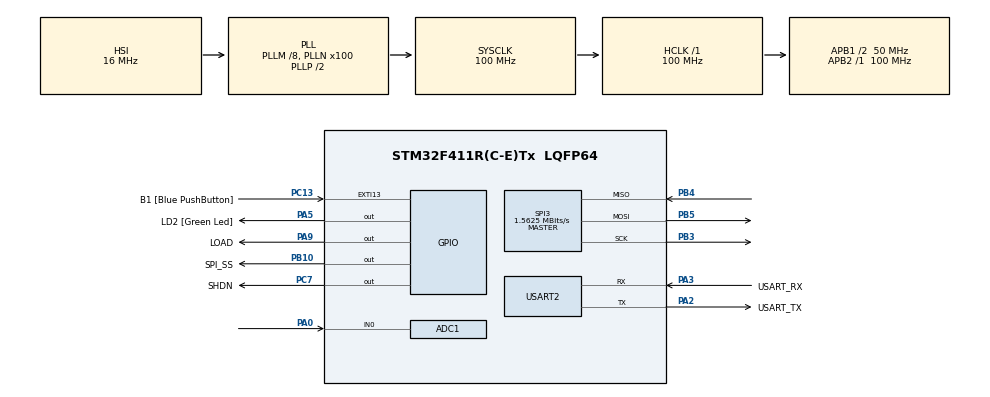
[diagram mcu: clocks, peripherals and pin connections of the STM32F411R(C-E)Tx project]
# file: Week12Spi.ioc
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Mcu.Family=STM32F4
PB10.PinState=GPIO_PIN_SET
RCC.CortexFreq_Value=100000000
SPI3.Direction=SPI_DIRECTION_2LINES
SPI3.VirtualType=VM_MASTER
ADC1.ContinuousConvMode=DISABLE
PA14.GPIO_Label=TCK
RCC.SYSCLKSource=RCC_SYSCLKSOURCE_PLLCLK
ProjectManager.StackSize=0x400
NVIC.ADC_IRQn=true\:0\:0\:false\:false\:true\:true\:true
PH0\ -\ OSC_IN.Signal=RCC_OSC_IN
RCC.HCLKFreq_Value=100000000
RCC.APB2TimFreq_Value=100000000
TIM3.Period=100
Dma.ADC1.0.Direction=DMA_PERIPH_TO_MEMORY
PC7.Signal=GPIO_Output
NVIC.DMA2_Stream0_IRQn=true\:0\:0\:false\:false\:true\:false\:true
Dma.ADC1.0.MemDataAlignment=DMA_MDATAALIGN_HALFWORD
RCC.AHBFreq_Value=100000000
SPI3.DataSize=SPI_DATASIZE_16BIT
ADC1.Channel-0\#ChannelRegularConversion=ADC_CHANNEL_0
RCC.HSE_VALUE=8000000
PB3.Mode=Full_Duplex_Master
ADC1.ScanConvMode=ENABLE
PC13-ANTI_TAMP.Signal=GPXTI13
PB4.Mode=Full_Duplex_Master
PC14-OSC32_IN.Mode=LSE-External-Oscillator
PA14.Mode=Serial_Wire
TIM3.Prescaler=99
Dma.ADC1.0.PeriphInc=DMA_PINC_DISABLE
NVIC.TIM2_IRQn=true\:0\:0\:false\:false\:true\:true\:true
PB5.Mode=Full_Duplex_Master
PC7.PinState=GPIO_PIN_SET
SH.ADCx_IN0.0=ADC1_IN0,IN0
ADC1.SamplingTime-0\#ChannelRegularConversion=ADC_SAMPLETIME_3CYCLES
RCC.FLatency-AdvancedSettings=FLASH_LATENCY_3
Mcu.Package=LQFP64
TIM2.Prescaler=99
SPI3.Mode=SPI_MODE_MASTER
USART2.VirtualMode=VM_ASYNC
PA2.GPIO_Label=USART_TX
NVIC.SPI3_IRQn=true\:0\:0\:false\:false\:true\:true\:true
RCC.APB1TimFreq_Value=100000000
Dma.ADC1.0.FIFOMode=DMA_FIFOMODE_DISABLE
Dma.Request0=ADC1
ADC1.EOCSelection=ADC_EOC_SEQ_CONV
VP_TIM3_VS_ClockSourceINT.Mode=Internal
PB4.Signal=SPI3_MISO
PA3.Signal=USART2_RX
PC15-OSC32_OUT.Mode=LSE-External-Oscillator
Dma.ADC1.0.Instance=DMA2_Stream0
ADC1.Rank-0\#ChannelRegularConversion=1
PC13-ANTI_TAMP.GPIO_Label=B1 [Blue PushButton]
PA9.GPIO_Label=LOAD
PH1\ -\ OSC_OUT.Mode=HSE-External-Clock-Source
ADC1.DiscontinuousConvMode=DISABLE
RCC.APB1CLKDivider=RCC_HCLK_DIV2
PC14-OSC32_IN.Signal=RCC_OSC32_IN
NVIC.USART2_IRQn=true\:0\:0\:false\:false\:true\:true\:true
PA0-WKUP.Signal=ADCx_IN0
PA13.Signal=SYS_JTMS-SWDIO
PA3.Mode=Asynchronous
Dma.ADC1.0.PeriphDataAlignment=DMA_PDATAALIGN_HALFWORD
PH0\ -\ OSC_IN.Mode=HSE-External-Clock-Source
ProjectManager.TargetToolchain=STM32CubeIDE
PB10.GPIO_Label=SPI_SS
Dma.ADC1.0.Mode=DMA_CIRCULAR
Dma.ADC1.0.Priority=DMA_PRIORITY_LOW
PA9.Signal=GPIO_Output
PA9.PinState=GPIO_PIN_SET
PC15-OSC32_OUT.Signal=RCC_OSC32_OUT
PB10.Signal=GPIO_Output
PA5.Signal=GPIO_Output
PH1\ -\ OSC_OUT.Signal=RCC_OSC_OUT
board=NUCLEO-F411RE
RCC.VCOOutputFreq_Value=200000000
RCC.APB2Freq_Value=100000000
SPI3.CalculateBaudRate=1.5625 MBits/s
VP_TIM2_VS_ClockSourceINT.Mode=Internal
SPI3.BaudRatePrescaler=SPI_BAUDRATEPRESCALER_32
ADC1.DMAContinuousRequests=ENABLE
PA13.Mode=Serial_Wire
Mcu.Name=STM32F411R(C-E)Tx
PA2.Signal=USART2_TX
PA13.GPIO_Label=TMS
ADC1.ExternalTrigConv=ADC_EXTERNALTRIGCONV_T3_TRGO
PC7.GPIO_Label=SHDN
RCC.48MHZClocksFreq_Value=50000000
PB3.Signal=SPI3_SCK
RCC.SYSCLKFreq_VALUE=100000000
PB5.Signal=SPI3_MOSI
ADC1.master=1
PA5.GPIO_Label=LD2 [Green Led]
PC13-ANTI_TAMP.GPIO_ModeDefaultEXTI=GPIO_MODE_IT_FALLING
PA14.Signal=SYS_JTCK-SWCLK
Dma.ADC1.0.MemInc=DMA_MINC_ENABLE
ProjectManager.HeapSize=0x200
RCC.HSI_VALUE=16000000
NVIC.PriorityGroup=NVIC_PRIORITYGROUP_0
ADC1.NbrOfConversionFlag=1
RCC.PLLM=8
RCC.PLLN=100
PA2.Mode=Asynchronous
TIM3.TIM_MasterOutputTrigger=TIM_TRGO_UPDATE
RCC.APB1Freq_Value=50000000
PA3.GPIO_Label=USART_RX

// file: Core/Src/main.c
/* USER CODE BEGIN Header */
/**
 ******************************************************************************
 * @file           : main.c
 * @brief          : Main program body
 ******************************************************************************
 * @attention
 *
 * <h2><center>&copy; Copyright (c) 2021 STMicroelectronics.
 * All rights reserved.</center></h2>
 *
 * This software component is licensed by ST under BSD 3-Clause license,
 * the "License"; You may not use this file except in compliance with the
 * License. You may obtain a copy of the License at:
 *                        opensource.org/licenses/BSD-3-Clause
 *
 ******************************************************************************
 */
/* USER CODE END Header */
#include "main.h"

/* USER CODE BEGIN Includes */
#include <math.h>
#include <stdio.h>
#include <string.h>

/* USER CODE END Includes */

ADC_HandleTypeDef hadc1;
DMA_HandleTypeDef hdma_adc1;

SPI_HandleTypeDef hspi3;

TIM_HandleTypeDef htim2;
TIM_HandleTypeDef htim3;

UART_HandleTypeDef huart2;

/* USER CODE BEGIN PV */
char TxDataBuffer[32] =
{ 0 };
char RxDataBuffer[32] =
{ 0 };
int16_t inputchar = 0;
uint16_t state = 0;
float f = 1;
float T = 0;
float Vhigh = 3.3;
float Vlow = 0.0;
int slope = 0;
float Duty_cycle = 0;
int wave = 0;
float VIn = 0;
float VOut = 0;
float deltaV = 0;
float delta_t = 0;
float deltaVfinal = 0;
double angle = 0;
float t = 0;
float pi = 3.14;
uint16_t VhighADC = 0;
uint16_t VlowADC = 0;
static uint64_t timestamp = 0;
static uint64_t wavetime = 0;

uint16_t ADCin = 0;
uint64_t _micro = 0;
uint16_t dataOut = 0;
	uint8_t DACConfig = 0b0011;  //SPIจะมี16bit โหมดในSPIใช้4bit ข้อมูลอีก12bit
enum state
{
	state_start = 0,
	state_Menu = 10,
	state_Sawtooth = 20,
	state_Sine = 30,
	state_Square = 40,
	state_functionSawtooth = 50,
	state_functionSine = 60,
	state_functionSquare = 70
};

char Menu[]="press 1 : Sawtooth wave\r\n"
			    "press 2 : Sine wave\r\n"
			    "press 3 : Square wave\r\n\r\n";
	char SawtoothMenu[]="SawtoothMenu\r\n "
			            "press a: +frequency\r\n "
			            "press s: -frequency\r\n "
		                "press q: +V high\r\n "
		                "press w: -V high\r\n "
		                "press e: +V low \r\n "
		                "press r: -V low\r\n "
		                "press d: slop Up\r\n "
		                "press f: slope down\r\n "
		                "press x: back\r\n\r\n";
	char SineMenu[]="SineMenu\r\n "
			        "press a: +frequency\r\n "
			        "press s: -frequency\r\n "
			        "press q: +V high\r\n "
			        "press w: -V high\r\n "
			        "press e: +V low \r\n "
			        "press r: -V low\r\n"
			        "press x: back\r\n\r\n ";
	char SquareMenu[]="SquareMenu\r\n "
			          "press a: +frequency\r\n "
			          "press s: -frequency\r\n "
				      "press q: +V high\r\n "
				      "press w: -V high\r\n "
				      "press e: +V low \r\n "
				      "press r: -V low\r\n "
				      "press d: +Duty cycle\r\n "
				      "press f: -Duty cycle\r\n "
				      "press x: back\r\n\r\n ";
	char showf[10] = "";
	char showVH[20] = "";
	char showVL[20] = "";
	char showDutyCycle[40] = "";
	char SlopeUp[] = "SlopeUp\r\n";
	char SlopeDown[] = "SlopeDown\r\n";
/* USER CODE END PV */

void SystemClock_Config(void);
static void MX_GPIO_Init(void);
static void MX_DMA_Init(void);
static void MX_USART2_UART_Init(void);
static void MX_SPI3_Init(void);
static void MX_ADC1_Init(void);
static void MX_TIM3_Init(void);
static void MX_TIM2_Init(void);
/* USER CODE BEGIN PFP */
void MCP4922SetOutput(uint8_t Config, uint16_t DACOutput);
uint64_t micros();
int16_t UARTRecieveIT();
/* USER CODE END PFP */

int main(void)
{

  /* MCU Configuration--------------------------------------------------------*/

  /* Reset of all peripherals, Initializes the Flash interface and the Systick. */
  HAL_Init();

  /* Configure the system clock */
  SystemClock_Config();

  /* Initialize all configured peripherals */
  MX_GPIO_Init();
  MX_DMA_Init();
  MX_USART2_UART_Init();
  MX_SPI3_Init();
  MX_ADC1_Init();
  MX_TIM3_Init();
  MX_TIM2_Init();
  /* USER CODE BEGIN 2 */
	HAL_TIM_Base_Start(&htim3);
	HAL_TIM_Base_Start_IT(&htim2);
	HAL_ADC_Start_DMA(&hadc1, (uint32_t*) &ADCin, 1);

	HAL_GPIO_WritePin(LOAD_GPIO_Port, LOAD_Pin, GPIO_PIN_RESET);

  /* USER CODE END 2 */

  /* Infinite loop */
  /* USER CODE BEGIN WHILE */
	while (1)
	{
		HAL_UART_Receive_IT(&huart2,  (uint8_t*)RxDataBuffer, 10);
		inputchar = UARTRecieveIT();
		switch (state)
		{
			case state_start:
				wave = 0;
//				char Menu[]="press 1 : Sawtooth wave\r\n"
//						    "press 2 : Sine wave\r\n"
//						    "press 3 : Square wave\r\n\r\n ";
				HAL_UART_Transmit(&huart2, (uint8_t*)Menu, strlen(Menu),10);
				state = state_Menu;
				break;
			case state_Menu:
				if (inputchar == '1')
				{
					state = state_Sawtooth;
				}
				else if (inputchar == '2')
				{
					state = state_Sine;
				}
				else if (inputchar == '3')
				{
					state = state_Square;
				}
				else
				{
					state = state_Menu;
				}
				break;
			case state_Sawtooth:
//				char SawtoothMenu[]="SawtoothMenu\r\n "
//									"press a:+frequency\r\n "
//									"press s:-frequency\r\n "
//									"press q: +V high\r\n "
//									"press w: -V high\r\n "
//									"press e: +V low \r\n "
//									"press r: -V low\r\n "
//									"press d: slop Up\r\n "
//									"press f: slope down\r\n "
//									"press x: back\r\n\r\n ";
				HAL_UART_Transmit(&huart2, (uint8_t*)SawtoothMenu, strlen(SawtoothMenu),100);
				state = state_functionSawtooth;
				break;
			case state_functionSawtooth:
				wave = 1;
				if (inputchar == 'a') //เพิ่มความถี่
				{
					f += 0.1;
					if(f>10)
					{
						f = 10;
					}
					sprintf(showf,"f = %f Hz\r\n",f);
					HAL_UART_Transmit(&huart2, (uint8_t*)showf, strlen(showf), 10);
					state = state_functionSawtooth;
				}
				else if(inputchar == 's')  //ลดความถี่
				{
					f -= 0.1;
					if(f<=0)
					{
						f = 0;
					}
					sprintf(showf,"f = %f Hz\r\n",f);
					HAL_UART_Transmit(&huart2, (uint8_t*)showf, strlen(showf), 10);
					state = state_functionSawtooth;
				}
				else if(inputchar == 'q')  //เพิ่ม V high
				{
					Vhigh = Vhigh + 0.1 ;
					if(Vhigh>3.3)
					{
						Vhigh = 3.3;
					}
					sprintf(showVH,"Vhigh = %f Volt\r\n",Vhigh);
					HAL_UART_Transmit(&huart2, (uint8_t*)showVH, strlen(showVH), 10);
					state = state_functionSawtooth;
				}
				else if(inputchar == 'w')  //ลด V high
				{
					Vhigh = Vhigh - 0.1 ;
					if(Vhigh<0)
					{
						Vhigh = 0;
					}
					sprintf(showVH,"Vhigh = %f Volt\r\n",Vhigh);
					HAL_UART_Transmit(&huart2, (uint8_t*)showVH, strlen(showVH), 10);
					state = state_functionSawtooth;
				}
				else if(inputchar == 'e')  //เพิ่ม V low
				{
					Vlow = Vlow + 0.1 ;
					if(Vlow>3.3)
					{
						Vlow = 3.3;
					}
					sprintf(showVL,"VLow = %f Volt\r\n",Vlow);
					HAL_UART_Transmit(&huart2, (uint8_t*)showVL, strlen(showVL), 10);
					state = state_functionSawtooth;
				}
				else if(inputchar == 'r')  //ลด V low
				{
					Vlow = Vlow - 0.1 ;
					if(Vlow<0)
					{
						Vlow = 0;
					}
					sprintf(showVL,"VLow = %f Volt\r\n",Vlow);
					HAL_UART_Transmit(&huart2, (uint8_t*)showVL, strlen(showVL), 10);
					state = state_functionSawtooth;
				}
				else if(inputchar == 'd')  //slope up
				{
					slope = 1;
					HAL_UART_Transmit(&huart2, (uint8_t*)SlopeUp, strlen(SlopeUp), 10);
					state = state_functionSawtooth;
				}
				else if(inputchar == 'f')  //slope down
				{
					slope = -1;
					HAL_UART_Transmit(&huart2, (uint8_t*)SlopeDown, strlen(SlopeDown), 10);
					state = state_functionSawtooth;
				}
				else if(inputchar == 'x')
				{
					state = state_start;
				}
				else
				{
					state = state_functionSawtooth;
				}
				break;
			case state_Sine:
//				char SineMenu[]="SineMenu\r\n "
//								"press a:+frequency\r\n "
//								"press s:-frequency\r\n "
//								"press q: +V high\r\n "
//								"press w: -V high\r\n "
//								"press e: +V low \r\n "
//								"press r: -V low\r\n "
//								"press x: back\r\n\r\n ";
				HAL_UART_Transmit(&huart2, (uint8_t*)SineMenu, strlen(SineMenu),100);
				state = state_functionSine;
				break;
			case state_functionSine:
				wave = 2;
				if (inputchar == 'a') //เพิ่มความถี่
				{
					f = f + 0.1;
					if(f>10)
					{
						f = 10;
					}
					sprintf(showf,"f = %f Hz\r\n",f);
					HAL_UART_Transmit(&huart2, (uint8_t*)showf, strlen(showf), 10);
					state = state_functionSine;
				}
				else if(inputchar == 's')  //ลดความถี่
				{
					f = f - 0.1;
					if(f<0)
					{
						f = 0;
					}
					sprintf(showf,"f = %f Hz\r\n",f);
					HAL_UART_Transmit(&huart2, (uint8_t*)showf, strlen(showf), 10);
					state = state_functionSine;
				}
				else if(inputchar == 'q')  //เพิ่ม V high
				{
					Vhigh = Vhigh + 0.1 ;
					if(Vhigh>3.3)
					{
						Vhigh = 3.3;
					}
					sprintf(showVH,"Vhigh = %f Volt\r\n",Vhigh);
					HAL_UART_Transmit(&huart2, (uint8_t*)showVH, strlen(showVH), 10);
					state = state_functionSine;
				}
				else if(inputchar == 'w')  //ลด V high
				{
					Vhigh = Vhigh - 0.1 ;
					if(Vhigh<0)
					{
						Vhigh = 0;
					}
					sprintf(showVH,"Vhigh = %f Volt\r\n",Vhigh);
					HAL_UART_Transmit(&huart2, (uint8_t*)showVH, strlen(showVH), 10);
					state = state_functionSine;
				}
				else if(inputchar == 'e')  //เพิ่ม V low
				{
					Vlow = Vlow + 0.1 ;
					if(Vlow>3.3)
					{
						Vlow = 3.3;
					}
					sprintf(showVL,"VLow = %f Volt\r\n",Vlow);
					HAL_UART_Transmit(&huart2, (uint8_t*)showVL, strlen(showVL), 10);
					state = state_functionSine;
				}
				else if(inputchar == 'r')  //ลด V low
				{
					Vlow = Vlow - 0.1 ;
					if(Vlow<0)
					{
						Vlow = 0;
					}
					sprintf(showVL,"VLow = %f Volt\r\n",Vlow);
					HAL_UART_Transmit(&huart2, (uint8_t*)showVL, strlen(showVL), 10);
					state = state_functionSine;
				}
				else if(inputchar == 'x')  //ย้อน�?ลับไป menu
				{
					state = state_start;
				}
				else
				{
					state =state_functionSine;
				}
				break;
			case state_Square:
//				char SquareMenu[]="SquareMenu\r\n "
//						          "press a:+frequency\r\n "
//						          "press s:-frequency\r\n "
//								  "press q: +V high\r\n "
//								  "press w: -V high\r\n "
//								  "press e: +V low \r\n "
//								  "press r: -V low\r\n "
//								  "press d: +Duty_cyccle\r\n "
//								  "press f: -Duty_cyccle\r\n "
//								  "press x: back\r\n ";
				HAL_UART_Transmit(&huart2, (uint8_t*)SquareMenu, strlen(SquareMenu),100);
				state = state_functionSquare;
				break;
			case state_functionSquare:
				wave = 3;
				if (inputchar == 'a')  //เพิ่มความถี่
				{
					f = f + 0.1;
					if(f>10)
					{
						f = 10;
					}
					sprintf(showf,"f = %f Hz\r\n",f);
					HAL_UART_Transmit(&huart2, (uint8_t*)showf, strlen(showf), 10);
					state = state_functionSquare;
				}
				else if(inputchar == 's')  //ลดความถี่
				{
					f = f - 0.1;
					if(f<0)
					{
						f = 0;
					}
					sprintf(showf,"f = %f Hz\r\n",f);
					HAL_UART_Transmit(&huart2, (uint8_t*)showf, strlen(showf), 10);
					state = state_functionSquare;
				}
				else if(inputchar == 'q')  //เพิ่ม V high
				{
					Vhigh = Vhigh + 0.1 ;
					if(Vhigh>3.3)
					{
						Vhigh = 3.3;
					}
					sprintf(showVH,"Vhigh = %f Volt\r\n",Vhigh);
					HAL_UART_Transmit(&huart2, (uint8_t*)showVH, strlen(showVH), 10);
					state = state_functionSquare;
				}
				else if(inputchar == 'w')  //ลด V high
				{
					Vhigh = Vhigh - 0.1 ;
					if(Vhigh<0)
					{
						Vhigh = 0;
					}
					sprintf(showVH,"Vhigh = %f Volt\r\n",Vhigh);
					HAL_UART_Transmit(&huart2, (uint8_t*)showVH, strlen(showVH), 10);
					state = state_functionSquare;
				}
				else if(inputchar == 'e')  //เพิ่ม V low
				{
					Vlow = Vlow + 0.1 ;
					if(Vlow>3.3)
					{
						Vlow = 3.3;
					}
					sprintf(showVL,"VLow = %f Volt\r\n",Vlow);
					HAL_UART_Transmit(&huart2, (uint8_t*)showVL, strlen(showVL), 10);
					state = state_functionSquare;
				}
				else if(inputchar == 'r')  //ลด V low
				{
					Vlow = Vlow - 0.1 ;
					if(Vlow<0)
					{
						Vlow = 0;
					}
					sprintf(showVL,"VLow = %f Volt\r\n",Vlow);
					HAL_UART_Transmit(&huart2, (uint8_t*)showVL, strlen(showVL), 10);
					state = state_functionSquare;
				}
				else if(inputchar == 'd')  //เพิ่ม Duty cycle
				{
					Duty_cycle = Duty_cycle + 10;
					if(Duty_cycle > 100)
					{
						Duty_cycle = 100;
					}
					sprintf(showDutyCycle,"DutyCycle = %f Percent\r\n",Duty_cycle);
					HAL_UART_Transmit(&huart2, (uint8_t*)showDutyCycle, strlen(showDutyCycle), 10);
					state = state_functionSquare;
				}
				else if(inputchar == 'f')  //ลด Duty cycle
				{
					Duty_cycle = Duty_cycle - 10;
					if(Duty_cycle < 0)
					{
						Duty_cycle = 0;
					}
					sprintf(showDutyCycle,"DutyCycle = %f Percent\r\n",Duty_cycle);
					HAL_UART_Transmit(&huart2, (uint8_t*)showDutyCycle, strlen(showDutyCycle), 10);
					state = state_functionSquare;
				}
				else if(inputchar == 'x')  //�?ลับไปที่ menu
				{
					state = state_start;
				}
				else
				{
					state = state_functionSquare;
				}
				break;
		}
		if (micros() - timestamp > 100) //10k Hz
		{
			timestamp = micros();
			if(wave == 1) //sawtooth
			{
				if(slope == 1)  //slope up
				{
					T = 1/f;
					if(micros() - wavetime <= (1000000*T))  //เปลี่ยนหน่วยเป็น microsec
					{
						deltaVfinal = Vhigh - Vlow;
						delta_t = micros() - wavetime;
						deltaV = Vlow + (deltaVfinal)*(delta_t/(1000000*T));
						dataOut = deltaV*4096/3.3;
					}
					else if(micros() - wavetime > (1000000*T))
					{
						wavetime = micros();
					}
				}
				else if(slope == -1) //slope down
				{
					if(micros() - wavetime <= (1000000*T))
					{
						deltaVfinal = Vhigh - Vlow;
						delta_t = micros() - wavetime;
						deltaV = Vhigh - (deltaVfinal)*(delta_t/(1000000*T));
						dataOut = deltaV*4096/3.3;
					}
					else if(micros() - wavetime > (1000000*T))
					{
						wavetime = micros();
					}
				}
			}
			else if(wave == 2)  // sine wave
			{
				T = 1/f;
				if(micros() - wavetime <= (1000000*T))
				{
					deltaVfinal = Vhigh - Vlow;
					delta_t = micros() - wavetime;
					VOut = Vlow + ((sin((delta_t/(1000000*T))*2*pi)+1)*(deltaVfinal/2));
					dataOut = VOut*4096/3.3;
				}
				else if(micros() - wavetime > (1000000*T))
				{
					wavetime = micros();
				}
			}
			else if(wave == 3)  //square wave
			{
				T = 1/f;
				if(micros() - wavetime <= (1000000*T))
				{
					if(micros() - wavetime <= (1000000*T)*(Duty_cycle/100))
					{
						VOut = Vhigh;
					}
					else if(micros() - wavetime > (1000000*T)*(Duty_cycle/100))
					{
						VOut = Vlow;
					}
					dataOut = VOut*4096/3.3;
				}
				else if(micros() - wavetime > (1000000*T))
				{
					wavetime = micros();
				}
			}
			if (hspi3.State == HAL_SPI_STATE_READY && HAL_GPIO_ReadPin(SPI_SS_GPIO_Port, SPI_SS_Pin) == GPIO_PIN_SET)
			{
				MCP4922SetOutput(DACConfig, dataOut);  //DACConfigคือ โหลดที่ให้ทำงาน  dataOutคือข้อมูลที่ส่ง 12bit
			}
			timestamp = micros();
		}
    /* USER CODE END WHILE */

	}
}

void SystemClock_Config(void)
{
  RCC_OscInitTypeDef RCC_OscInitStruct = {0};
  RCC_ClkInitTypeDef RCC_ClkInitStruct = {0};

  /** Configure the main internal regulator output voltage
  */
  __HAL_RCC_PWR_CLK_ENABLE();
  __HAL_PWR_VOLTAGESCALING_CONFIG(PWR_REGULATOR_VOLTAGE_SCALE1);
  /** Initializes the RCC Oscillators according to the specified parameters
  * in the RCC_OscInitTypeDef structure.
  */
  RCC_OscInitStruct.OscillatorType = RCC_OSCILLATORTYPE_HSI;
  RCC_OscInitStruct.HSIState = RCC_HSI_ON;
  RCC_OscInitStruct.HSICalibrationValue = RCC_HSICALIBRATION_DEFAULT;
  RCC_OscInitStruct.PLL.PLLState = RCC_PLL_ON;
  RCC_OscInitStruct.PLL.PLLSource = RCC_PLLSOURCE_HSI;
  RCC_OscInitStruct.PLL.PLLM = 8;
  RCC_OscInitStruct.PLL.PLLN = 100;
  RCC_OscInitStruct.PLL.PLLP = RCC_PLLP_DIV2;
  RCC_OscInitStruct.PLL.PLLQ = 4;
  if (HAL_RCC_OscConfig(&RCC_OscInitStruct) != HAL_OK)
  {
    Error_Handler();
  }
  /** Initializes the CPU, AHB and APB buses clocks
  */
  RCC_ClkInitStruct.ClockType = RCC_CLOCKTYPE_HCLK|RCC_CLOCKTYPE_SYSCLK
                              |RCC_CLOCKTYPE_PCLK1|RCC_CLOCKTYPE_PCLK2;
  RCC_ClkInitStruct.SYSCLKSource = RCC_SYSCLKSOURCE_PLLCLK;
  RCC_ClkInitStruct.AHBCLKDivider = RCC_SYSCLK_DIV1;
  RCC_ClkInitStruct.APB1CLKDivider = RCC_HCLK_DIV2;
  RCC_ClkInitStruct.APB2CLKDivider = RCC_HCLK_DIV1;

  if (HAL_RCC_ClockConfig(&RCC_ClkInitStruct, FLASH_LATENCY_3) != HAL_OK)
  {
    Error_Handler();
  }
}

static void MX_ADC1_Init(void)
{

  ADC_ChannelConfTypeDef sConfig = {0};

  /** Configure the global features of the ADC (Clock, Resolution, Data Alignment and number of conversion)
  */
  hadc1.Instance = ADC1;
  hadc1.Init.ClockPrescaler = ADC_CLOCK_SYNC_PCLK_DIV4;
  hadc1.Init.Resolution = ADC_RESOLUTION_12B;
  hadc1.Init.ScanConvMode = ENABLE;
  hadc1.Init.ContinuousConvMode = DISABLE;
  hadc1.Init.DiscontinuousConvMode = DISABLE;
  hadc1.Init.ExternalTrigConvEdge = ADC_EXTERNALTRIGCONVEDGE_RISING;
  hadc1.Init.ExternalTrigConv = ADC_EXTERNALTRIGCONV_T3_TRGO;
  hadc1.Init.DataAlign = ADC_DATAALIGN_RIGHT;
  hadc1.Init.NbrOfConversion = 1;
  hadc1.Init.DMAContinuousRequests = ENABLE;
  hadc1.Init.EOCSelection = ADC_EOC_SEQ_CONV;
  if (HAL_ADC_Init(&hadc1) != HAL_OK)
  {
    Error_Handler();
  }
  /** Configure for the selected ADC regular channel its corresponding rank in the sequencer and its sample time.
  */
  sConfig.Channel = ADC_CHANNEL_0;
  sConfig.Rank = 1;
  sConfig.SamplingTime = ADC_SAMPLETIME_3CYCLES;
  if (HAL_ADC_ConfigChannel(&hadc1, &sConfig) != HAL_OK)
  {
    Error_Handler();
  }

}

static void MX_SPI3_Init(void)
{

  /* SPI3 parameter configuration*/
  hspi3.Instance = SPI3;
  hspi3.Init.Mode = SPI_MODE_MASTER;
  hspi3.Init.Direction = SPI_DIRECTION_2LINES;
  hspi3.Init.DataSize = SPI_DATASIZE_16BIT;
  hspi3.Init.CLKPolarity = SPI_POLARITY_LOW;
  hspi3.Init.CLKPhase = SPI_PHASE_1EDGE;
  hspi3.Init.NSS = SPI_NSS_SOFT;
  hspi3.Init.BaudRatePrescaler = SPI_BAUDRATEPRESCALER_32;
  hspi3.Init.FirstBit = SPI_FIRSTBIT_MSB;
  hspi3.Init.TIMode = SPI_TIMODE_DISABLE;
  hspi3.Init.CRCCalculation = SPI_CRCCALCULATION_DISABLE;
  hspi3.Init.CRCPolynomial = 10;
  if (HAL_SPI_Init(&hspi3) != HAL_OK)
  {
    Error_Handler();
  }

}

static void MX_TIM2_Init(void)
{

  TIM_ClockConfigTypeDef sClockSourceConfig = {0};
  TIM_MasterConfigTypeDef sMasterConfig = {0};

  htim2.Instance = TIM2;
  htim2.Init.Prescaler = 99;
  htim2.Init.CounterMode = TIM_COUNTERMODE_UP;
  htim2.Init.Period = 4294967295;
  htim2.Init.ClockDivision = TIM_CLOCKDIVISION_DIV1;
  htim2.Init.AutoReloadPreload = TIM_AUTORELOAD_PRELOAD_DISABLE;
  if (HAL_TIM_Base_Init(&htim2) != HAL_OK)
  {
    Error_Handler();
  }
  sClockSourceConfig.ClockSource = TIM_CLOCKSOURCE_INTERNAL;
  if (HAL_TIM_ConfigClockSource(&htim2, &sClockSourceConfig) != HAL_OK)
  {
    Error_Handler();
  }
  sMasterConfig.MasterOutputTrigger = TIM_TRGO_RESET;
  sMasterConfig.MasterSlaveMode = TIM_MASTERSLAVEMODE_DISABLE;
  if (HAL_TIMEx_MasterConfigSynchronization(&htim2, &sMasterConfig) != HAL_OK)
  {
    Error_Handler();
  }

}

static void MX_TIM3_Init(void)
{

  TIM_ClockConfigTypeDef sClockSourceConfig = {0};
  TIM_MasterConfigTypeDef sMasterConfig = {0};

  htim3.Instance = TIM3;
  htim3.Init.Prescaler = 99;
  htim3.Init.CounterMode = TIM_COUNTERMODE_UP;
  htim3.Init.Period = 100;
  htim3.Init.ClockDivision = TIM_CLOCKDIVISION_DIV1;
  htim3.Init.AutoReloadPreload = TIM_AUTORELOAD_PRELOAD_DISABLE;
  if (HAL_TIM_Base_Init(&htim3) != HAL_OK)
  {
    Error_Handler();
  }
  sClockSourceConfig.ClockSource = TIM_CLOCKSOURCE_INTERNAL;
  if (HAL_TIM_ConfigClockSource(&htim3, &sClockSourceConfig) != HAL_OK)
  {
    Error_Handler();
  }
  sMasterConfig.MasterOutputTrigger = TIM_TRGO_UPDATE;
  sMasterConfig.MasterSlaveMode = TIM_MASTERSLAVEMODE_DISABLE;
  if (HAL_TIMEx_MasterConfigSynchronization(&htim3, &sMasterConfig) != HAL_OK)
  {
    Error_Handler();
  }

}

static void MX_USART2_UART_Init(void)
{

  huart2.Instance = USART2;
  huart2.Init.BaudRate = 115200;
  huart2.Init.WordLength = UART_WORDLENGTH_8B;
  huart2.Init.StopBits = UART_STOPBITS_1;
  huart2.Init.Parity = UART_PARITY_NONE;
  huart2.Init.Mode = UART_MODE_TX_RX;
  huart2.Init.HwFlowCtl = UART_HWCONTROL_NONE;
  huart2.Init.OverSampling = UART_OVERSAMPLING_16;
  if (HAL_UART_Init(&huart2) != HAL_OK)
  {
    Error_Handler();
  }

}

static void MX_DMA_Init(void)
{

  /* DMA controller clock enable */
  __HAL_RCC_DMA2_CLK_ENABLE();

  /* DMA interrupt init */
  /* DMA2_Stream0_IRQn interrupt configuration */
  HAL_NVIC_SetPriority(DMA2_Stream0_IRQn, 0, 0);
  HAL_NVIC_EnableIRQ(DMA2_Stream0_IRQn);

}

static void MX_GPIO_Init(void)
{
  GPIO_InitTypeDef GPIO_InitStruct = {0};

  /* GPIO Ports Clock Enable */
  __HAL_RCC_GPIOC_CLK_ENABLE();
  __HAL_RCC_GPIOH_CLK_ENABLE();
  __HAL_RCC_GPIOA_CLK_ENABLE();
  __HAL_RCC_GPIOB_CLK_ENABLE();

  /*Configure GPIO pin Output Level */
  HAL_GPIO_WritePin(LD2_GPIO_Port, LD2_Pin, GPIO_PIN_RESET);

  /*Configure GPIO pin Output Level */
  HAL_GPIO_WritePin(SPI_SS_GPIO_Port, SPI_SS_Pin, GPIO_PIN_SET);

  /*Configure GPIO pin Output Level */
  HAL_GPIO_WritePin(SHDN_GPIO_Port, SHDN_Pin, GPIO_PIN_SET);

  /*Configure GPIO pin Output Level */
  HAL_GPIO_WritePin(LOAD_GPIO_Port, LOAD_Pin, GPIO_PIN_SET);

  /*Configure GPIO pin : B1_Pin */
  GPIO_InitStruct.Pin = B1_Pin;
  GPIO_InitStruct.Mode = GPIO_MODE_IT_FALLING;
  GPIO_InitStruct.Pull = GPIO_NOPULL;
  HAL_GPIO_Init(B1_GPIO_Port, &GPIO_InitStruct);

  /*Configure GPIO pins : LD2_Pin LOAD_Pin */
  GPIO_InitStruct.Pin = LD2_Pin|LOAD_Pin;
  GPIO_InitStruct.Mode = GPIO_MODE_OUTPUT_PP;
  GPIO_InitStruct.Pull = GPIO_NOPULL;
  GPIO_InitStruct.Speed = GPIO_SPEED_FREQ_LOW;
  HAL_GPIO_Init(GPIOA, &GPIO_InitStruct);

  /*Configure GPIO pin : SPI_SS_Pin */
  GPIO_InitStruct.Pin = SPI_SS_Pin;
  GPIO_InitStruct.Mode = GPIO_MODE_OUTPUT_PP;
  GPIO_InitStruct.Pull = GPIO_NOPULL;
  GPIO_InitStruct.Speed = GPIO_SPEED_FREQ_LOW;
  HAL_GPIO_Init(SPI_SS_GPIO_Port, &GPIO_InitStruct);

  /*Configure GPIO pin : SHDN_Pin */
  GPIO_InitStruct.Pin = SHDN_Pin;
  GPIO_InitStruct.Mode = GPIO_MODE_OUTPUT_PP;
  GPIO_InitStruct.Pull = GPIO_NOPULL;
  GPIO_InitStruct.Speed = GPIO_SPEED_FREQ_LOW;
  HAL_GPIO_Init(SHDN_GPIO_Port, &GPIO_InitStruct);

}

/* USER CODE BEGIN 4 */
void MCP4922SetOutput(uint8_t Config, uint16_t DACOutput)
{
	uint32_t OutputPacket = (DACOutput & 0x0fff) | ((Config & 0xf) << 12);  //DACOutputคือ ข้อมูล12bit Configคือ โหมด4bit
	HAL_GPIO_WritePin(SPI_SS_GPIO_Port, SPI_SS_Pin, GPIO_PIN_RESET);  //เปลี่ยน SS ให้เป็น low เพื่อให้เริ่มส่งข้อมูล
	HAL_SPI_Transmit_IT(&hspi3, &OutputPacket, 1);  //ส่งข้อมูล
}

void HAL_SPI_TxCpltCallback(SPI_HandleTypeDef *hspi)
{
	if (hspi == &hspi3)  //เมื่อส่งข้อมูลครบ 16bit
		{
		HAL_GPIO_WritePin(SPI_SS_GPIO_Port, SPI_SS_Pin, GPIO_PIN_SET);  //เปลี่ยน SS ให้เป็น high คือสิ้นสุดการส่งข้อมูล
	}
}

void HAL_TIM_PeriodElapsedCallback(TIM_HandleTypeDef *htim)
{
	if (htim == &htim2)
	{
		_micro += 65535;
	}
}

inline uint64_t micros()
{
	return htim2.Instance->CNT + _micro;
}
int16_t UARTRecieveIT()
{
	static uint32_t dataPos =0;
	int16_t data=-1;
	if(huart2.RxXferSize - huart2.RxXferCount!=dataPos)
	{
		data=RxDataBuffer[dataPos];
		dataPos= (dataPos+1)%huart2.RxXferSize;
	}
	return data;
}
/* USER CODE END 4 */

void Error_Handler(void)
{
	__disable_irq();
	while (1)
	{
	}
}

/************************ (C) COPYRIGHT STMicroelectronics *****END OF FILE****/
